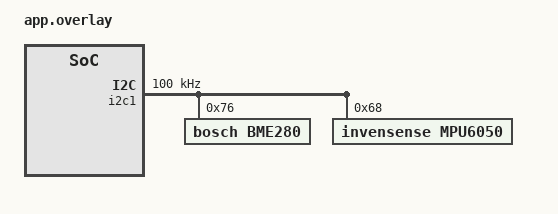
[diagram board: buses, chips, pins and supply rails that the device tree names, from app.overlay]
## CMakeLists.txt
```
cmake_minimum_required(VERSION 3.20.0)
find_package(Zephyr REQUIRED HINTS $ENV{ZEPHYR_BASE})
project(zephyr_sim_app)

target_sources(app PRIVATE
    src/main.c
)
```

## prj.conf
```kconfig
CONFIG_LOG=y
CONFIG_LOG_DEFAULT_LEVEL=3
CONFIG_MAIN_STACK_SIZE=2048
CONFIG_SENSOR=y
CONFIG_BME280=y
CONFIG_I2C=y
CONFIG_MPU6050=y
```

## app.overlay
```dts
/*Enable i2c1on the Nucleo F401RE board. Without this Zephyrs might treat the i2C1 as disabled*/
&i2c1 {
    status = "okay";
    clock-frequency = <I2C_BITRATE_STANDARD>;
/*typically 100kHz*/

    bme280: bme280@76 {
        compatible = "bosch,bme280";
        reg = <0x76>;
    };

    mpu6050: mpu6050@68 {
        compatible = "invensense,mpu6050";
        reg = <0x68>;
    };
};
```

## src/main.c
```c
#include <zephyr/kernel.h>  /*includes zephyr Kernel API's*/
#include <zephyr/device.h>  /*Required to include API's like DEVICE_DT_GET()*/
#include <zephyr/drivers/sensor.h>  /*includes Zephyr’s generic sensor driver API*/
#include <zephyr/logging/log.h>    
#include "sensor_data.h"
#include <stdlib.h>
LOG_MODULE_REGISTER(app, LOG_LEVEL_INF);        
K_MSGQ_DEFINE(sensor_msgq, sizeof(struct sensor_data), 10, 4);
#define PRODUCER_STACK_SIZE 1024
#define THREAD_PRIORITY 5
enum system_state {
    NORMAL,
    WARNING,
    FAULT
};
static int sensor_value_to_milli_int(struct sensor_value *val)
{
    return (val->val1 * 1000) + (val->val2 / 1000);
}
void producer_thread(void)
{
    k_sleep(K_SECONDS(1));        /*VERY IMPORTANT TO GIVE THE SENSORS A SECOND TO POWER UP AND INNITIALIZE!!!*/

    const struct device *bme = DEVICE_DT_GET(DT_NODELABEL(bme280));
    const struct device *mpu = DEVICE_DT_GET(DT_NODELABEL(mpu6050));

    if (!device_is_ready(bme)) {
        LOG_ERR("BME280 device not ready");
        return;
    }

    if (!device_is_ready(mpu)) {
        LOG_ERR("MPU6050 device not ready");
        return;
    }

    LOG_INF("Producer: sensors ready");

    while (1) {
        struct sensor_value temp;
        struct sensor_value accel[3];
        struct sensor_data data;

        int ret = sensor_sample_fetch(bme);
        if (ret < 0) {
            LOG_ERR("Producer: failed to fetch BME280, ret=%d", ret);
            k_sleep(K_SECONDS(1));
            continue;
        }

        ret = sensor_channel_get(bme, SENSOR_CHAN_AMBIENT_TEMP, &temp);
        if (ret < 0) {
            LOG_ERR("Producer: failed to read temperature, ret=%d", ret);
            k_sleep(K_SECONDS(1));
            continue;
        }

        ret = sensor_sample_fetch(mpu);
        if (ret < 0) {
            LOG_ERR("Producer: failed to fetch MPU6050, ret=%d", ret);
            k_sleep(K_SECONDS(1));
            continue;
        }

        ret = sensor_channel_get(mpu, SENSOR_CHAN_ACCEL_XYZ, accel);
        if (ret < 0) {
            LOG_ERR("Producer: failed to read accel, ret=%d", ret);
            k_sleep(K_SECONDS(1));
            continue;
        }

        data.temperature_c = temp.val1;
        data.accel_x_milli = sensor_value_to_milli_int(&accel[0]);
        data.accel_y_milli = sensor_value_to_milli_int(&accel[1]);
        data.accel_z_milli = sensor_value_to_milli_int(&accel[2]);

        data.vibration_milli =
    abs(data.accel_x_milli) +
    abs(data.accel_y_milli) +
    abs(data.accel_z_milli);
        if (k_msgq_put(&sensor_msgq, &data, K_NO_WAIT) != 0) {
    LOG_WRN("Producer: queue full, data dropped");
}
        k_sleep(K_SECONDS(1));
    }
}
enum system_state check_system_state(struct sensor_data data)
{
    if (data.temperature_c > 35 || data.vibration_milli > 22000) {
        return FAULT;
    }

    if (data.temperature_c > 30 || data.vibration_milli > 18000) {
        return WARNING;
    }

    return NORMAL;
}
void consumer_thread(void)
{
    struct sensor_data data;
static enum system_state previous_state = NORMAL;

    while (1) {
        if (k_msgq_get(&sensor_msgq, &data, K_FOREVER) == 0) {
            enum system_state state = check_system_state(data);

LOG_INF("Consumer: temp=%d C vib=%d accel=(%d,%d,%d)",
        data.temperature_c,
        data.vibration_milli,
        data.accel_x_milli,
        data.accel_y_milli,
        data.accel_z_milli);

if (state != previous_state) {
    if (state == FAULT) {
        LOG_ERR("State changed: FAULT");
    } else if (state == WARNING) {
        LOG_WRN("State changed: WARNING");
    } else {
        LOG_INF("State changed: NORMAL");
    }

    previous_state = state;
}        }
    }
}
int main(void)
{
    LOG_INF("Sensor monitoring application started");
    return 0;
}
K_THREAD_DEFINE(producer_tid, PRODUCER_STACK_SIZE, producer_thread,
                NULL, NULL, NULL, THREAD_PRIORITY, 0, 0);
K_THREAD_DEFINE(consumer_tid, PRODUCER_STACK_SIZE, consumer_thread,
                NULL, NULL, NULL, THREAD_PRIORITY, 0, 0);
/*
K_THREAD_DEFINE(name, stack_size, entry,
                p1, p2, p3, priority, options, delay);
pi, p2, p3 -> argument passed into the thread
options -> sometimes options can be used to select things like user mode
*/
```

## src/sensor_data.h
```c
#ifndef SENSOR_SIM_H
#define SENSOR_SIM_H

struct sensor_data {
    int temperature_c;
    int accel_x_milli;
    int accel_y_milli;
    int accel_z_milli;
    int vibration_milli;
};

#endif
```
